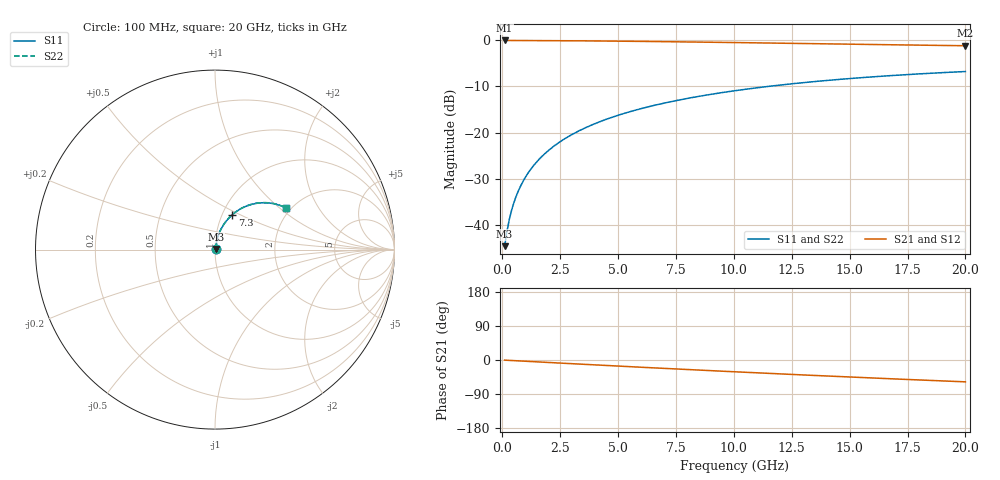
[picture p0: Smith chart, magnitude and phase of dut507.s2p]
! Touchstone file exported from HFSS 2026.1.0
!  File:  C:/ffzhzh/LocalFiles/Ansys_Project_Files/temp_train_BSMRDL_507_1783014327_51716.aedt
!  Generated:  01:47:08 AM Jul  3, 2026
!  Design:  BSMRDL
!  Project:  temp_train_BSMRDL_507_1783014327_51716
! Variables:
!  h_bsmrdl = 4.6um
!  h_ox = 20um
!  h_rdl = 5um
!  h_sub = 80um
!  h_tmrdl = 5um
!  h_tsv = 80um
!  h_via = 3um
!  l_bsmrdl = 933.74um
!  l_sub = 1333.74um
!  l_tmrdl = 200um
!  m_sub = 200um
!  pitch = 36.25um
!  r_tsv = 6um
!  s_tmrdl = 10um
!  w_bsmrdl = 15.48um
!  w_sub = 500um
!  w_tmrdl = 12um
!  x_tsv_center1 = 206um
!  x_tsv_center2 = 1155.22um
!  x_tsv_center3 = 1367.22um
!  x_tsv_center4 = 2316.44um
!  x_tsv_center5 = 2528.44um
!  x_tsv_center6 = 3477.66um
# GHz S MA R 50.000000
! Terminal data exported
! Port[1] = BSM_RDL1_1_T1
! Port[2] = BSM_RDL1_1_T2
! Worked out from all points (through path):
!   200 points, 100 MHz to 20 GHz, reference 50 ohm
!   highest |S21| = -0.04 dB at 100 MHz (marker M1); lowest = -1.2 dB at 20 GHz (marker M2)
!   group delay of S21, straight-line fit = 8 ps
!   lowest |S11| = -44.6 dB at 100 MHz (marker M3), VSWR 1.01, Z = 50.5 + j0.348 ohm
!   |S11| at or under -10 dB: start of sweep to 11.49 GHz
!   |S22| runs from -44.6 to -6.8 dB; largest |S21 - S12| = 3.5e-15
!   S11 on the Smith chart (normalised r, x): 100 MHz: 1.01, +0.01; 7.3 GHz: 1.12, +0.45; 20 GHz: 1.89, +1.10
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0.1  0.005863 36.1  0.9953 -0.3  0.9953 -0.3  0.005863 36.1
! Gamma 0 0 0 0
! Port Impedance 50 0 50 0
0.2  0.008429 53.8  0.9951 -0.7  0.9951 -0.7  0.008429 53.8
0.3  0.01134 62.3  0.9949 -1.0  0.9949 -1.0  0.01134 62.3
0.4  0.01433 67.1  0.9947 -1.3  0.9947 -1.3  0.01433 67.1
0.5  0.01736 70.2  0.9945 -1.7  0.9945 -1.7  0.01736 70.3
0.6  0.02042 72.4  0.9943 -2.0  0.9943 -2.0  0.02042 72.4
0.8  0.02659 75.1  0.994 -2.6  0.994 -2.6  0.02659 75.1
1.1  0.03594 77.0  0.9935 -3.6  0.9935 -3.6  0.03594 77.0
1.3  0.0422 77.5  0.9931 -4.3  0.9931 -4.3  0.0422 77.6
1.6  0.05159 77.8  0.9925 -5.2  0.9925 -5.2  0.05159 77.8
2.1  0.06718 77.4  0.9911 -6.9  0.9911 -6.9  0.06718 77.5
2.7  0.08569 76.3  0.9891 -8.8  0.9891 -8.8  0.08569 76.4
3.5  0.1099 74.4  0.9858 -11.3  0.9858 -11.3  0.1099 74.4
4.2  0.1306 72.5  0.9825 -13.6  0.9825 -13.6  0.1306 72.5
5  0.1537 70.2  0.9782 -16.1  0.9782 -16.1  0.1537 70.3
6.8  0.2033 65.1  0.9674 -21.6  0.9674 -21.6  0.2033 65.1
7.3  0.2164 63.7  0.9641 -23.1  0.9641 -23.1  0.2164 63.7
8.6  0.2494 60.0  0.9551 -26.9  0.9551 -26.9  0.2494 60.1
10.1  0.2852 55.8  0.9443 -31.3  0.9443 -31.3  0.2852 55.9
13.4  0.3551 46.9  0.9193 -40.6  0.9193 -40.6  0.3551 47.0
16.7  0.4127 38.4  0.8946 -49.3  0.8946 -49.3  0.4127 38.6
20  0.4583 30.3  0.8723 -57.7  0.8723 -57.7  0.4583 30.5
